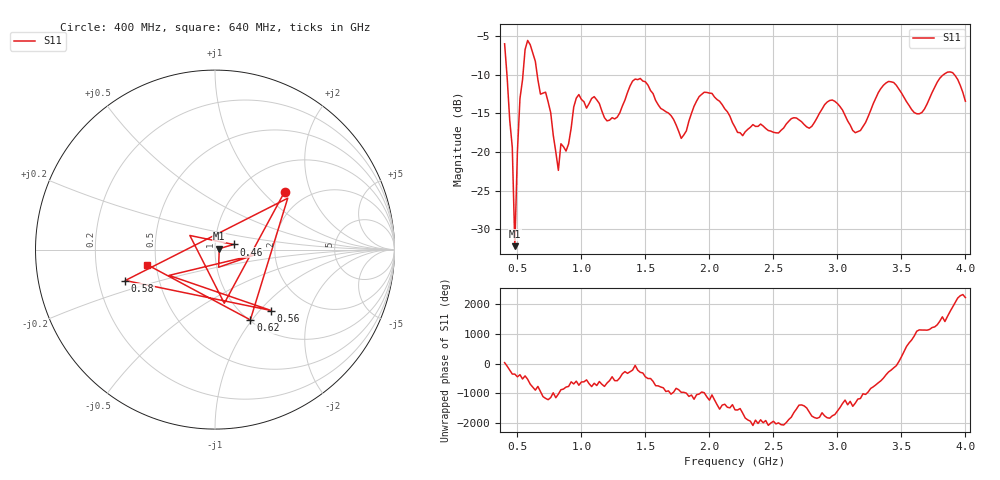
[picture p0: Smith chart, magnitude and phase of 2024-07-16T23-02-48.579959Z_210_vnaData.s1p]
!Created with skrf (http://scikit-rf.org).
# Hz S RI R 50.0
!freq ReS11 ImS11
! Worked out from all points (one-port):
!   181 points, 400 MHz to 4 GHz, reference 50 ohm
!   lowest |S11| = -32.2 dB at 480 MHz (marker M1), VSWR 1.05, Z = 52.4 + j0.576 ohm
!   |S11| at or under -10 dB: 418.3 MHz to 543.3 MHz (124.9 MHz wide, 26 % of centre); 654.8 MHz to 3.827 GHz (3.172 GHz wide, 142 % of centre); 3.915 GHz to end of sweep
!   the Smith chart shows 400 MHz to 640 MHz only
!   S11 on the Smith chart (normalised r, x): 400 MHz: 1.56, +1.34; 460 MHz: 1.23, +0.07; 560 MHz: 1.34, -1.16; 580 MHz: 0.32, -0.15; 620 MHz: 1.01, -0.98; 640 MHz: 0.45, -0.09
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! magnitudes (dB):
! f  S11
! 400 MHz  -6.0
! 460 MHz  -19.4
! 480 MHz  -32.2
! 500 MHz  -20.0
! 520 MHz  -13.1
! 560 MHz  -6.7
! 580 MHz  -5.5
! 620 MHz  -7.2
! 640 MHz  -8.2
! 760 MHz  -14.9
! 820 MHz  -22.4
! 860 MHz  -19.3
! 980 MHz  -12.6
! 1.3 GHz  -14.9
! 1.46 GHz  -10.5
! 1.76 GHz  -17.3
! 1.96 GHz  -12.2
! 2.2 GHz  -16.8
! 2.66 GHz  -15.6
! 2.78 GHz  -16.9
! 2.96 GHz  -13.3
! 3.1 GHz  -16.5
! 3.18 GHz  -17.2
! 3.4 GHz  -10.8
! 3.56 GHz  -14.0
! 3.66 GHz  -14.9
! 3.88 GHz  -9.6
! 4 GHz  -13.4
